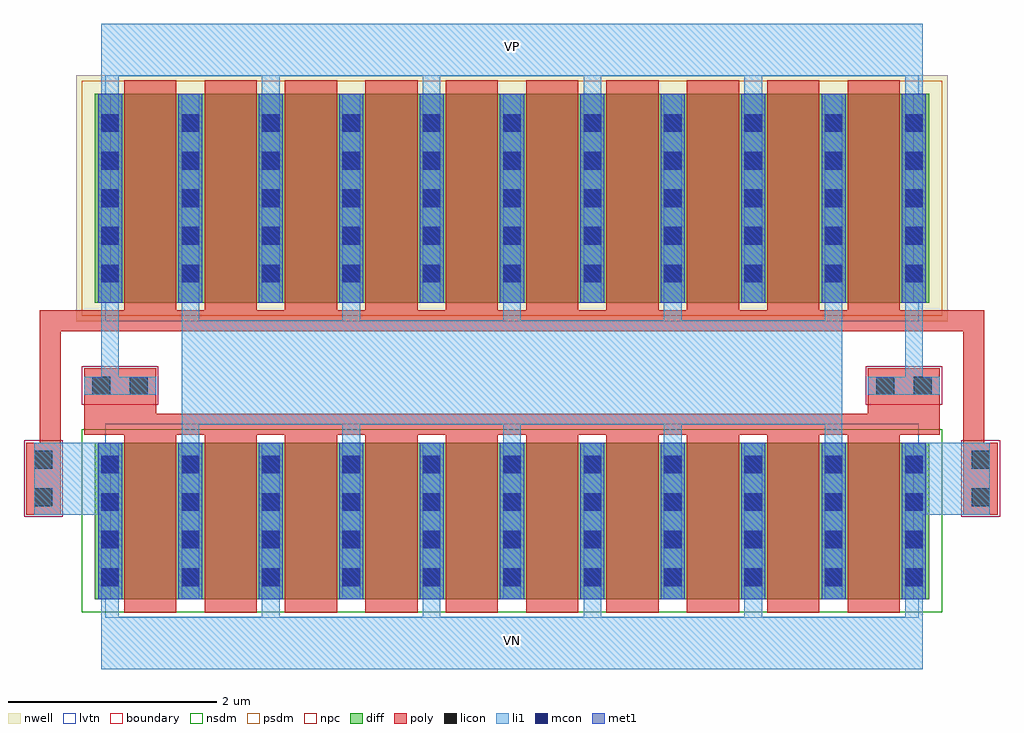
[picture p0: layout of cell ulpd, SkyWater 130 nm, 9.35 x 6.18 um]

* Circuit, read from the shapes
.subckt ulpd VN VP
XM1 n1 VP VN VSUBS sky130_fd_pr__nfet_01v8_lvt w=1.5 l=0.5 m=10
XM2 n1 VN VP n2 sky130_fd_pr__pfet_01v8_lvt w=2 l=0.5 m=10
.ends

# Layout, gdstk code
from math import pi, radians
import gdstk
lib = gdstk.Library(unit=1e-6, precision=1e-09)
def R(c, l, rs):  # rectangles x0, y0, x1, y1
    for r in rs: c.add(gdstk.rectangle(r[:2], r[2:], *l))
def A(c, l, x, y, w, h, nx, ny, dx, dy):  # array of equal rectangles
    R(c, l, [(x+i*dx, y+j*dy, x+i*dx+w, y+j*dy+h) for i in range(nx) for j in range(ny)])
nwell = (64, 20)
diff = (65, 20)
poly = (66, 20)
licon = (66, 44)
li1 = (67, 20)
mcon = (67, 44)
met1 = (68, 20)
nsdm = (93, 44)
psdm = (94, 20)
npc = (95, 20)
lvtn = (125, 44)
boundary = (235, 4)

mosfet_1 = lib.new_cell('MOSFET$1')
R(mosfet_1, nwell, [(-0.325,-0.18,8.025,2.18)])
A(mosfet_1, diff, 0.77, 0, 0.77, 2, 8, 1, 0.77, 0)
R(mosfet_1, diff, [(-0.145,0,0.77,2), (6.93,0,7.845,2)])
A(mosfet_1, poly, 0.135, -0.13, 0.5, 2.205, 10, 1, 0.77, 0)
R(mosfet_1, poly, [(0.135,2.075,7.565,2.275)])
A(mosfet_1, licon, -0.085, 0.195, 0.17, 0.17, 11, 5, 0.77, 0.36)
A(mosfet_1, li1, -0.085, -0.17, 0.17, 2.17, 6, 1, 1.54, 0)
A(mosfet_1, li1, -0.085, 0, 0.17, 2, 11, 1, 0.77, 0)
A(mosfet_1, li1, 0.685, 0, 0.17, 2.17, 5, 1, 1.54, 0)
R(mosfet_1, li1, [(-0.085,-0.67,7.785,-0.17), (0.685,2.17,7.015,2.67)])
A(mosfet_1, mcon, -0.085, 0.195, 0.17, 0.17, 11, 5, 0.77, 0.36)
A(mosfet_1, met1, -0.115, 0, 0.23, 2, 11, 1, 0.77, 0)
R(mosfet_1, psdm, [(-0.27,-0.125,7.97,2.125)])
R(mosfet_1, lvtn, [(-0.045,-0.18,7.745,2.18)])
R(mosfet_1, boundary, [(0,0,7.7,2)])

mosfet_2 = lib.new_cell('MOSFET$2')
A(mosfet_2, diff, 0.77, 0, 0.77, 1.5, 8, 1, 0.77, 0)
R(mosfet_2, diff, [(-0.145,0,0.77,1.5), (6.93,0,7.845,1.5)])
A(mosfet_2, poly, 0.135, -0.13, 0.5, 1.705, 10, 1, 0.77, 0)
R(mosfet_2, poly, [(0.135,1.575,7.565,1.775)])
A(mosfet_2, licon, -0.085, 0.125, 0.17, 0.17, 11, 4, 0.77, 0.36)
A(mosfet_2, li1, -0.085, -0.17, 0.17, 1.67, 6, 1, 1.54, 0)
A(mosfet_2, li1, -0.085, 0, 0.17, 1.5, 11, 1, 0.77, 0)
A(mosfet_2, li1, 0.685, 0, 0.17, 1.67, 5, 1, 1.54, 0)
R(mosfet_2, li1, [(-0.085,-0.67,7.785,-0.17), (0.685,1.67,7.015,2.17)])
A(mosfet_2, mcon, -0.085, 0.125, 0.17, 0.17, 11, 4, 0.77, 0.36)
A(mosfet_2, met1, -0.115, 0, 0.23, 1.5, 11, 1, 0.77, 0)
R(mosfet_2, nsdm, [(-0.27,-0.125,7.97,1.625)])
R(mosfet_2, lvtn, [(-0.045,-0.18,7.745,1.68)])
R(mosfet_2, boundary, [(0,0,7.7,1.5)])

contact_1 = lib.new_cell('Contact$1')
R(contact_1, poly, [(-0.345,-0.165,0.345,0.165)])
R(contact_1, licon, [(-0.265,-0.085,-0.095,0.085), (0.095,-0.085,0.265,0.085)])
R(contact_1, li1, [(-0.345,-0.085,0.345,0.085)])
R(contact_1, npc, [(-0.365,-0.185,0.365,0.185)])

ulpd = lib.new_cell('ulpd')
R(ulpd, poly, [(-4.1,-0.595,-3.41,-0.24), (3.41,-0.595,4.1,-0.24)])
R(ulpd, li1, [(-4.47,-1.36,-3.92,-0.67), (3.92,-1.36,4.47,-0.67), (-3.935,-0.135,-3.765,0.755), (3.765,-0.135,3.935,0.755)])
ulpd.add(gdstk.FlexPath([(-3.67,0.495),(-4.425,0.495),(-4.425,-0.92)], 0.2, ends="flush", simple_path=True, layer=66, datatype=20))  # poly
ulpd.add(gdstk.FlexPath([(3.67,0.495),(4.425,0.495),(4.425,-0.92)], 0.2, ends="flush", simple_path=True, layer=66, datatype=20))  # poly
ulpd.add(gdstk.Reference(mosfet_1, (-3.85,2.67), x_reflection=True))
ulpd.add(gdstk.Reference(mosfet_2, (-3.85,-2.17)))
ulpd.add(gdstk.Reference(contact_1, (3.755,-0.125)))
ulpd.add(gdstk.Reference(contact_1, (-3.755,-0.125)))
ulpd.add(gdstk.Reference(contact_1, (-4.49,-1.015), rotation=pi/2))
ulpd.add(gdstk.Reference(contact_1, (4.49,-1.015), rotation=pi/2, x_reflection=True))
ulpd.add(gdstk.Label('VP', (0,3.125), layer=67, texttype=5))
ulpd.add(gdstk.Label('VN', (0,-2.57), layer=67, texttype=5))

lib.write_gds('ulpd.gds')
